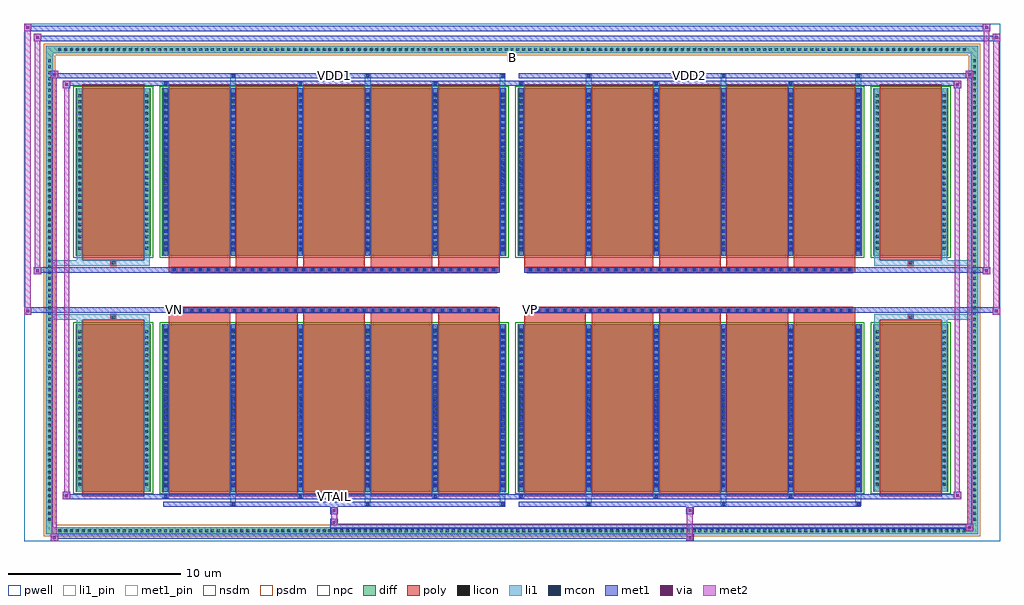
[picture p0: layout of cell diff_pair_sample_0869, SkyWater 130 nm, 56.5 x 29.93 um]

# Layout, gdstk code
import gdstk
lib = gdstk.Library(unit=1e-6, precision=5e-09)
def R(c, l, rs):  # rectangles x0, y0, x1, y1
    for r in rs: c.add(gdstk.rectangle(r[:2], r[2:], *l))
def A(c, l, x, y, w, h, nx, ny, dx, dy):  # array of equal rectangles
    R(c, l, [(x+i*dx, y+j*dy, x+i*dx+w, y+j*dy+h) for i in range(nx) for j in range(ny)])
def P(c, l, *ps):  # polygons
    for p in ps: c.add(gdstk.Polygon(p, *l))
pwell = (64, 44)
diff = (65, 20)
poly = (66, 20)
licon = (66, 44)
li1_pin = (67, 16)
li1 = (67, 20)
mcon = (67, 44)
met1_pin = (68, 16)
met1 = (68, 20)
via = (68, 44)
met2 = (69, 20)
nsdm = (93, 44)
psdm = (94, 20)
npc = (95, 20)

diff_pair_sample_0869 = lib.new_cell('diff_pair_sample_0869')
R(diff_pair_sample_0869, pwell, [(-28.25,-14.53,28.25,15.4), (-25.57,-12.72,-0.01,-0.8), (0.01,-12.72,25.57,-0.8), (-25.57,0.8,-0.01,12.72), (0.01,0.8,25.57,12.72)])
A(diff_pair_sample_0869, diff, -26.385, -14.13, 0.41, 0.41, 155, 2, 0.34, 27.85)
A(diff_pair_sample_0869, diff, -26.98, -13.465, 0.41, 0.41, 1, 79, 0, 0.34)
A(diff_pair_sample_0869, diff, 26.57, -13.465, 0.41, 0.41, 1, 79, 0, 0.34)
R(diff_pair_sample_0869, diff, [(-26.385,-14.13,26.385,-13.72), (-26.98,-13.465,-26.57,13.465), (26.57,-13.465,26.98,13.465), (-25.26,-11.675,-20.91,-1.985), (-20.27,-11.675,-0.32,-1.985), (0.32,-11.675,20.27,-1.985), (20.91,-11.675,25.26,-1.985), (-25.26,1.985,-20.91,11.675), (-20.27,1.985,-0.32,11.675), (0.32,1.985,20.27,11.675), (20.91,1.985,25.26,11.675), (-26.385,13.72,26.385,14.13)])
P(diff_pair_sample_0869, diff, [(26.98,14.13),(-26.98,14.13),(-26.98,-13.72),(-26.57,-13.72),(-26.57,13.72),(26.57,13.72),(26.57,-13.72),(-26.57,-13.72),(-26.98,-13.72),(-26.98,-14.13),(26.98,-14.13)])
A(diff_pair_sample_0869, poly, -19.88, -11.925, 3.57, 10.19, 5, 2, 3.9, 13.66)
A(diff_pair_sample_0869, poly, 0.71, -11.925, 3.57, 10.19, 5, 2, 3.9, 13.66)
A(diff_pair_sample_0869, poly, -19.88, -1.735, 3.57, 0.405, 5, 2, 3.9, 3.065)
A(diff_pair_sample_0869, poly, 0.71, -1.735, 3.57, 0.405, 5, 2, 3.9, 3.065)
A(diff_pair_sample_0869, poly, -19.71, -1.33, 0.33, 0.33, 38, 2, 0.5, 2.33)
A(diff_pair_sample_0869, poly, 0.88, -1.33, 0.33, 0.33, 38, 2, 0.5, 2.33)
R(diff_pair_sample_0869, poly, [(-24.87,-11.925,-21.3,-1.735), (21.3,-11.925,24.87,-1.735), (-23.25,-1.735,-22.92,-1.405), (-23.25,-1.735,-22.92,-1.405), (22.92,-1.735,23.25,-1.405), (22.92,-1.735,23.25,-1.405), (-19.88,-1.33,-0.71,-1), (0.71,-1.33,19.88,-1), (-19.88,1,-0.71,1.33), (0.71,1,19.88,1.33), (-23.25,1.405,-22.92,1.735), (-23.25,1.405,-22.92,1.735), (22.92,1.405,23.25,1.735), (22.92,1.405,23.25,1.735), (-24.87,1.735,-21.3,11.925), (21.3,1.735,24.87,11.925)])
A(diff_pair_sample_0869, licon, -26.265, -14.01, 0.17, 0.17, 155, 2, 0.34, 27.85)
A(diff_pair_sample_0869, licon, -26.86, -13.345, 0.17, 0.17, 1, 79, 0, 0.34)
A(diff_pair_sample_0869, licon, 26.69, -13.345, 0.17, 0.17, 1, 79, 0, 0.34)
A(diff_pair_sample_0869, licon, -25.12, -11.335, 0.17, 0.17, 1, 27, 0, 0.34)
A(diff_pair_sample_0869, licon, -21.22, -11.335, 0.17, 0.17, 1, 27, 0, 0.34)
A(diff_pair_sample_0869, licon, -20.13, -11.335, 0.17, 0.17, 6, 27, 3.9, 0.34)
A(diff_pair_sample_0869, licon, 0.46, -11.335, 0.17, 0.17, 6, 27, 3.9, 0.34)
A(diff_pair_sample_0869, licon, 21.05, -11.335, 0.17, 0.17, 1, 27, 0, 0.34)
A(diff_pair_sample_0869, licon, 24.95, -11.335, 0.17, 0.17, 1, 27, 0, 0.34)
A(diff_pair_sample_0869, licon, -19.63, -1.25, 0.17, 0.17, 38, 2, 0.5, 2.33)
A(diff_pair_sample_0869, licon, 0.96, -1.25, 0.17, 0.17, 38, 2, 0.5, 2.33)
A(diff_pair_sample_0869, licon, -25.12, 2.325, 0.17, 0.17, 1, 27, 0, 0.34)
A(diff_pair_sample_0869, licon, -21.22, 2.325, 0.17, 0.17, 1, 27, 0, 0.34)
A(diff_pair_sample_0869, licon, -20.13, 2.325, 0.17, 0.17, 6, 27, 3.9, 0.34)
A(diff_pair_sample_0869, licon, 0.46, 2.325, 0.17, 0.17, 6, 27, 3.9, 0.34)
A(diff_pair_sample_0869, licon, 21.05, 2.325, 0.17, 0.17, 1, 27, 0, 0.34)
A(diff_pair_sample_0869, licon, 24.95, 2.325, 0.17, 0.17, 1, 27, 0, 0.34)
R(diff_pair_sample_0869, licon, [(-23.17,-1.655,-23,-1.485), (23,-1.655,23.17,-1.485), (-23.17,1.485,-23,1.655), (23,1.485,23.17,1.655)])
R(diff_pair_sample_0869, li1_pin, [(-0.25,13.22,0.25,13.72)])
A(diff_pair_sample_0869, li1, -26.345, -14.09, 0.33, 0.33, 155, 2, 0.34, 27.85)
A(diff_pair_sample_0869, li1, -26.94, -13.425, 0.33, 0.33, 1, 79, 0, 0.34)
A(diff_pair_sample_0869, li1, 26.61, -13.425, 0.33, 0.33, 1, 79, 0, 0.34)
A(diff_pair_sample_0869, li1, -16.31, -12.48, 0.33, 0.805, 3, 2, 7.8, 24.155)
A(diff_pair_sample_0869, li1, -16.23, -12.48, 0.17, 0.17, 3, 2, 7.8, 24.79)
A(diff_pair_sample_0869, li1, 4.28, -12.48, 0.33, 0.805, 3, 2, 7.8, 24.155)
A(diff_pair_sample_0869, li1, 4.36, -12.48, 0.17, 0.17, 3, 2, 7.8, 24.79)
A(diff_pair_sample_0869, li1, -20.21, -12.05, 0.33, 0.375, 3, 2, 7.8, 23.725)
A(diff_pair_sample_0869, li1, -20.13, -12.05, 0.17, 0.17, 3, 2, 7.8, 23.93)
A(diff_pair_sample_0869, li1, 0.38, -12.05, 0.33, 0.375, 3, 2, 7.8, 23.725)
A(diff_pair_sample_0869, li1, 0.46, -12.05, 0.17, 0.17, 3, 2, 7.8, 23.93)
A(diff_pair_sample_0869, li1, -20.21, -11.675, 0.33, 9.69, 6, 2, 3.9, 13.66)
A(diff_pair_sample_0869, li1, 0.38, -11.675, 0.33, 9.69, 6, 2, 3.9, 13.66)
A(diff_pair_sample_0869, li1, -25.2, -11.415, 0.33, 0.33, 1, 27, 0, 0.34)
A(diff_pair_sample_0869, li1, -21.3, -11.415, 0.33, 0.33, 1, 27, 0, 0.34)
A(diff_pair_sample_0869, li1, -20.21, -11.415, 0.33, 0.33, 6, 27, 3.9, 0.34)
A(diff_pair_sample_0869, li1, -20.13, -11.415, 0.17, 0.17, 6, 26, 3.9, 0.36)
A(diff_pair_sample_0869, li1, -20.13, -11.415, 0.17, 9.17, 6, 2, 3.9, 13.66)
A(diff_pair_sample_0869, li1, 0.38, -11.415, 0.33, 0.33, 6, 27, 3.9, 0.34)
A(diff_pair_sample_0869, li1, 0.46, -11.415, 0.17, 0.17, 6, 26, 3.9, 0.36)
A(diff_pair_sample_0869, li1, 0.46, -11.415, 0.17, 9.17, 6, 2, 3.9, 13.66)
A(diff_pair_sample_0869, li1, 20.97, -11.415, 0.33, 0.33, 1, 27, 0, 0.34)
A(diff_pair_sample_0869, li1, 24.87, -11.415, 0.33, 0.33, 1, 27, 0, 0.34)
A(diff_pair_sample_0869, li1, -19.71, -1.33, 0.33, 0.33, 38, 2, 0.5, 2.33)
A(diff_pair_sample_0869, li1, 0.88, -1.33, 0.33, 0.33, 38, 2, 0.5, 2.33)
A(diff_pair_sample_0869, li1, -25.2, 2.245, 0.33, 0.33, 1, 27, 0, 0.34)
A(diff_pair_sample_0869, li1, -21.3, 2.245, 0.33, 0.33, 1, 27, 0, 0.34)
A(diff_pair_sample_0869, li1, -20.21, 2.245, 0.33, 0.33, 6, 27, 3.9, 0.34)
A(diff_pair_sample_0869, li1, -20.13, 2.245, 0.17, 0.17, 6, 26, 3.9, 0.36)
A(diff_pair_sample_0869, li1, 0.38, 2.245, 0.33, 0.33, 6, 27, 3.9, 0.34)
A(diff_pair_sample_0869, li1, 0.46, 2.245, 0.17, 0.17, 6, 26, 3.9, 0.36)
A(diff_pair_sample_0869, li1, 20.97, 2.245, 0.33, 0.33, 1, 27, 0, 0.34)
A(diff_pair_sample_0869, li1, 24.87, 2.245, 0.33, 0.33, 1, 27, 0, 0.34)
R(diff_pair_sample_0869, li1, [(-26.98,-14.13,-26.57,-13.72), (-26.98,-14.13,-26.57,-13.72), (-26.57,-14.13,26.57,-13.72), (26.57,-14.13,26.98,-13.72), (26.57,-14.13,26.98,-13.72), (-26.98,-13.72,-26.57,13.72), (26.57,-13.72,26.98,13.72), (-25.2,-11.675,-24.87,-1.985), (-21.3,-11.675,-20.97,-1.985), (20.97,-11.675,21.3,-1.985), (24.87,-11.675,25.2,-1.985), (-25.2,-1.985,-24.87,-1.405), (-21.3,-1.985,-20.97,-1.405), (20.97,-1.985,21.3,-1.405), (24.87,-1.985,25.2,-1.405), (-26.98,-1.735,-23.25,-1.405), (-25.2,-1.735,-23.25,-1.405), (-23.25,-1.735,-22.92,-1.405), (-22.92,-1.735,-20.97,-1.405), (20.97,-1.735,22.92,-1.405), (22.92,-1.735,23.25,-1.405), (22.92,-1.735,26.98,-1.405), (23.25,-1.735,25.2,-1.405), (-26.98,1.405,-23.25,1.735), (-25.2,1.405,-23.25,1.735), (-25.2,1.405,-24.87,1.985), (-23.25,1.405,-22.92,1.735), (-22.92,1.405,-20.97,1.735), (-21.3,1.405,-20.97,1.985), (20.97,1.405,22.92,1.735), (20.97,1.405,21.3,1.985), (22.92,1.405,23.25,1.735), (22.92,1.405,26.98,1.735), (23.25,1.405,25.2,1.735), (24.87,1.405,25.2,1.985), (-25.2,1.985,-24.87,11.675), (-21.3,1.985,-20.97,11.675), (20.97,1.985,21.3,11.675), (24.87,1.985,25.2,11.675), (-26.98,13.72,-26.57,14.13), (-26.98,13.72,-26.57,14.13), (-26.57,13.72,26.57,14.13), (26.57,13.72,26.98,14.13), (26.57,13.72,26.98,14.13)])
A(diff_pair_sample_0869, mcon, -16.23, -12.48, 0.17, 0.17, 3, 2, 7.8, 24.79)
A(diff_pair_sample_0869, mcon, 4.36, -12.48, 0.17, 0.17, 3, 2, 7.8, 24.79)
A(diff_pair_sample_0869, mcon, -20.13, -12.05, 0.17, 0.17, 3, 2, 7.8, 23.93)
A(diff_pair_sample_0869, mcon, 0.46, -12.05, 0.17, 0.17, 3, 2, 7.8, 23.93)
A(diff_pair_sample_0869, mcon, -20.13, -11.415, 0.17, 0.17, 6, 26, 3.9, 0.36)
A(diff_pair_sample_0869, mcon, 0.46, -11.415, 0.17, 0.17, 6, 26, 3.9, 0.36)
A(diff_pair_sample_0869, mcon, -19.63, -1.25, 0.17, 0.17, 38, 2, 0.5, 2.33)
A(diff_pair_sample_0869, mcon, 0.96, -1.25, 0.17, 0.17, 38, 2, 0.5, 2.33)
A(diff_pair_sample_0869, mcon, -20.13, 2.245, 0.17, 0.17, 6, 26, 3.9, 0.36)
A(diff_pair_sample_0869, mcon, 0.46, 2.245, 0.17, 0.17, 6, 26, 3.9, 0.36)
R(diff_pair_sample_0869, met1_pin, [(-10.43,-12.09,-10.16,-11.82), (-19.68,-1.29,-19.41,-1.02), (0.91,-1.29,1.18,-1.02), (-10.43,12.27,-10.16,12.54), (10.16,12.27,10.43,12.54)])
A(diff_pair_sample_0869, met1, -16.29, -12.54, 0.29, 0.29, 3, 2, 7.8, 24.79)
A(diff_pair_sample_0869, met1, 4.3, -12.54, 0.29, 0.29, 3, 2, 7.8, 24.79)
A(diff_pair_sample_0869, met1, -20.19, -12.11, 0.29, 0.29, 3, 2, 7.8, 23.93)
A(diff_pair_sample_0869, met1, 0.4, -12.11, 0.29, 0.29, 3, 2, 7.8, 23.93)
A(diff_pair_sample_0869, met1, -20.19, -11.675, 0.29, 9.69, 6, 2, 3.9, 13.66)
A(diff_pair_sample_0869, met1, 0.4, -11.675, 0.29, 9.69, 6, 2, 3.9, 13.66)
A(diff_pair_sample_0869, met1, -20.19, -11.475, 0.29, 0.29, 6, 26, 3.9, 0.36)
A(diff_pair_sample_0869, met1, 0.4, -11.475, 0.29, 0.29, 6, 26, 3.9, 0.36)
A(diff_pair_sample_0869, met1, -19.69, -1.31, 0.29, 0.29, 38, 2, 0.5, 2.33)
A(diff_pair_sample_0869, met1, 0.9, -1.31, 0.29, 0.29, 38, 2, 0.5, 2.33)
A(diff_pair_sample_0869, met1, -20.19, 2.185, 0.29, 0.29, 6, 26, 3.9, 0.36)
A(diff_pair_sample_0869, met1, 0.4, 2.185, 0.29, 0.29, 6, 26, 3.9, 0.36)
R(diff_pair_sample_0869, met1, [(-26.71,-14.53,-26.28,-14.1), (10.08,-14.53,10.51,-14.1), (-26.71,-14.39,10.51,-14.1), (26.28,-13.96,26.71,-13.53), (-10.51,-13.82,26.71,-13.53), (-10.51,-13.68,-10.08,-13.25), (-10.51,-12.97,-10.08,-12.54), (10.08,-12.97,10.51,-12.54), (-20.19,-12.54,-0.4,-12.25), (0.4,-12.54,20.19,-12.25), (-26,-12.11,-25.57,-11.68), (-26,-12.11,-20.19,-11.82), (-20.19,-12.11,-0.4,-11.82), (-0.4,-12.11,0.4,-11.82), (0.4,-12.11,20.19,-11.82), (20.19,-12.11,26,-11.82), (25.57,-12.11,26,-11.68), (-28.25,-1.43,-27.82,-1), (27.82,-1.43,28.25,-1), (-28.25,-1.33,-0.71,-1), (-19.88,-1.33,-0.71,-1), (0.71,-1.33,19.88,-1), (0.71,-1.33,28.25,-1), (-27.68,0.9,-27.25,1.33), (27.25,0.9,27.68,1.33), (-27.68,1,-19.88,1.33), (-19.88,1,-0.71,1.33), (0.71,1,19.88,1.33), (19.88,1,27.68,1.33), (-26,11.68,-25.57,12.11), (25.57,11.68,26,12.11), (-26,11.82,-20.19,12.11), (-20.19,11.82,-0.4,12.11), (-0.4,11.82,0.4,12.11), (0.4,11.82,20.19,12.11), (20.19,11.82,26,12.11), (-26.71,12.25,-26.28,12.68), (-26.71,12.25,-20.19,12.54), (-20.19,12.25,-0.4,12.54), (0.4,12.25,20.19,12.54), (20.19,12.25,26.71,12.54), (26.28,12.25,26.71,12.68), (-27.68,14.4,-27.25,14.83), (-27.68,14.4,-25.57,14.73), (-25.57,14.4,25.57,14.73), (25.57,14.4,28.25,14.73), (27.82,14.4,28.25,14.83), (-28.25,14.97,-27.82,15.4), (-28.25,14.97,-25.57,15.3), (-25.57,14.97,25.57,15.3), (25.57,14.97,27.68,15.3), (27.25,14.97,27.68,15.4)])
R(diff_pair_sample_0869, via, [(-26.57,-14.39,-26.42,-14.24), (10.22,-14.39,10.37,-14.24), (26.42,-13.82,26.57,-13.67), (-10.37,-13.54,-10.22,-13.39), (-10.37,-12.83,-10.22,-12.68), (10.22,-12.83,10.37,-12.68), (-25.86,-11.97,-25.71,-11.82), (25.71,-11.97,25.86,-11.82), (-28.11,-1.29,-27.96,-1.14), (27.96,-1.29,28.11,-1.14), (-27.54,1.04,-27.39,1.19), (27.39,1.04,27.54,1.19), (-25.86,11.82,-25.71,11.97), (25.71,11.82,25.86,11.97), (-26.57,12.39,-26.42,12.54), (26.42,12.39,26.57,12.54), (-27.54,14.54,-27.39,14.69), (27.96,14.54,28.11,14.69), (-28.11,15.11,-27.96,15.26), (27.39,15.11,27.54,15.26)])
R(diff_pair_sample_0869, met2, [(-26.71,-14.53,-26.28,-14.1), (-26.64,-14.53,-26.35,12.68), (-26.35,-14.53,-26.28,-14.1), (-26.66,-14.48,-26.33,-14.15), (10.13,-14.48,10.46,-14.15), (10.13,-14.15,10.46,-12.92), (26.28,-13.96,26.71,-13.53), (26.35,-13.96,26.64,12.68), (26.64,-13.96,26.71,-13.53), (26.33,-13.91,26.66,-13.58), (-10.46,-13.63,-10.13,-13.3), (-10.46,-13.3,-10.13,-12.92), (-10.46,-12.92,-10.13,-12.59), (10.13,-12.92,10.46,-12.59), (-26,-12.11,-25.57,-11.68), (-25.93,-12.11,-25.64,12.11), (-25.64,-12.11,-25.57,-11.68), (25.57,-12.11,26,-11.68), (25.64,-12.11,25.93,12.11), (25.93,-12.11,26,-11.68), (-25.95,-12.06,-25.62,-11.73), (25.62,-12.06,25.95,-11.73), (-28.25,-1.43,-27.82,-1), (-28.2,-1.43,-27.87,15.4), (-27.87,-1.43,-27.82,-1), (27.82,-1.43,28.25,-1), (27.87,-1.43,28.2,14.83), (28.2,-1.43,28.25,-1), (-28.2,-1.38,-27.87,-1.05), (27.87,-1.38,28.2,-1.05), (-27.68,0.9,-27.25,1.33), (-27.63,0.9,-27.3,14.83), (-27.3,0.9,-27.25,1.33), (27.25,0.9,27.68,1.33), (27.3,0.9,27.63,15.4), (27.63,0.9,27.68,1.33), (-27.63,0.95,-27.3,1.28), (27.3,0.95,27.63,1.28), (-26,11.68,-25.57,12.11), (-25.64,11.68,-25.57,12.11), (25.57,11.68,26,12.11), (25.93,11.68,26,12.11), (-25.95,11.73,-25.62,12.06), (25.62,11.73,25.95,12.06), (-26.71,12.25,-26.28,12.68), (-26.35,12.25,-26.28,12.68), (26.28,12.25,26.71,12.68), (26.64,12.25,26.71,12.68), (-26.66,12.3,-26.33,12.63), (26.33,12.3,26.66,12.63), (-27.68,14.4,-27.25,14.83), (-27.3,14.4,-27.25,14.83), (27.82,14.4,28.25,14.83), (28.2,14.4,28.25,14.83), (-27.63,14.45,-27.3,14.78), (27.87,14.45,28.2,14.78), (-28.25,14.97,-27.82,15.4), (-27.87,14.97,-27.82,15.4), (27.25,14.97,27.68,15.4), (27.63,14.97,27.68,15.4), (-28.2,15.02,-27.87,15.35), (27.3,15.02,27.63,15.35)])
R(diff_pair_sample_0869, nsdm, [(-25.39,-11.805,-20.78,-1.855), (-20.4,-11.805,-0.19,-1.855), (0.19,-11.805,20.4,-1.855), (20.78,-11.805,25.39,-1.855), (-25.39,1.855,-20.78,11.805), (-20.4,1.855,-0.19,11.805), (0.19,1.855,20.4,11.805), (20.78,1.855,25.39,11.805)])
P(diff_pair_sample_0869, psdm, [(27.11,14.26),(-27.11,14.26),(-27.11,-13.59),(-26.44,-13.59),(-26.44,13.59),(26.44,13.59),(26.44,-13.59),(-26.44,-13.59),(-27.11,-13.59),(-27.11,-14.26),(27.11,-14.26)])
A(diff_pair_sample_0869, npc, -19.73, -1.35, 0.37, 0.37, 38, 2, 0.5, 2.33)
A(diff_pair_sample_0869, npc, 0.86, -1.35, 0.37, 0.37, 38, 2, 0.5, 2.33)
R(diff_pair_sample_0869, npc, [(-23.27,-1.755,-22.9,-1.385), (22.9,-1.755,23.27,-1.385), (-19.73,-1.35,-18.86,-0.98), (-19.73,-1.35,-18.86,-0.98), (-19.23,-1.35,-18.36,-0.98), (-19.23,-1.35,-18.36,-0.98), (-18.73,-1.35,-17.86,-0.98), (-18.73,-1.35,-17.86,-0.98), (-18.23,-1.35,-17.36,-0.98), (-18.23,-1.35,-17.36,-0.98), (-17.73,-1.35,-16.86,-0.98), (-17.73,-1.35,-16.86,-0.98), (-17.23,-1.35,-16.36,-0.98), (-17.23,-1.35,-16.36,-0.98), (-16.73,-1.35,-15.86,-0.98), (-16.73,-1.35,-15.86,-0.98), (-16.23,-1.35,-15.36,-0.98), (-16.23,-1.35,-15.36,-0.98), (-15.73,-1.35,-14.86,-0.98), (-15.73,-1.35,-14.86,-0.98), (-15.23,-1.35,-14.36,-0.98), (-15.23,-1.35,-14.36,-0.98), (-14.73,-1.35,-13.86,-0.98), (-14.73,-1.35,-13.86,-0.98), (-14.23,-1.35,-13.36,-0.98), (-14.23,-1.35,-13.36,-0.98), (-13.73,-1.35,-12.86,-0.98), (-13.73,-1.35,-12.86,-0.98), (-13.23,-1.35,-12.36,-0.98), (-13.23,-1.35,-12.36,-0.98), (-12.73,-1.35,-11.86,-0.98), (-12.73,-1.35,-11.86,-0.98), (-12.23,-1.35,-11.36,-0.98), (-12.23,-1.35,-11.36,-0.98), (-11.73,-1.35,-10.86,-0.98), (-11.73,-1.35,-10.86,-0.98), (-11.23,-1.35,-10.36,-0.98), (-11.23,-1.35,-10.36,-0.98), (-10.73,-1.35,-9.86,-0.98), (-10.73,-1.35,-9.86,-0.98), (-10.23,-1.35,-9.36,-0.98), (-10.23,-1.35,-9.36,-0.98), (-9.73,-1.35,-8.86,-0.98), (-9.73,-1.35,-8.86,-0.98), (-9.23,-1.35,-8.36,-0.98), (-9.23,-1.35,-8.36,-0.98), (-8.73,-1.35,-7.86,-0.98), (-8.73,-1.35,-7.86,-0.98), (-8.23,-1.35,-7.36,-0.98), (-8.23,-1.35,-7.36,-0.98), (-7.73,-1.35,-6.86,-0.98), (-7.73,-1.35,-6.86,-0.98), (-7.23,-1.35,-6.36,-0.98), (-7.23,-1.35,-6.36,-0.98), (-6.73,-1.35,-5.86,-0.98), (-6.73,-1.35,-5.86,-0.98), (-6.23,-1.35,-5.36,-0.98), (-6.23,-1.35,-5.36,-0.98), (-5.73,-1.35,-4.86,-0.98), (-5.73,-1.35,-4.86,-0.98), (-5.23,-1.35,-4.36,-0.98), (-5.23,-1.35,-4.36,-0.98), (-4.73,-1.35,-3.86,-0.98), (-4.73,-1.35,-3.86,-0.98), (-4.23,-1.35,-3.36,-0.98), (-4.23,-1.35,-3.36,-0.98), (-3.73,-1.35,-2.86,-0.98), (-3.73,-1.35,-2.86,-0.98), (-3.23,-1.35,-2.36,-0.98), (-3.23,-1.35,-2.36,-0.98), (-2.73,-1.35,-1.86,-0.98), (-2.73,-1.35,-1.86,-0.98), (-2.23,-1.35,-1.36,-0.98), (-2.23,-1.35,-1.36,-0.98), (-1.73,-1.35,-0.86,-0.98), (-1.73,-1.35,-0.86,-0.98), (0.86,-1.35,1.73,-0.98), (0.86,-1.35,1.73,-0.98), (1.36,-1.35,2.23,-0.98), (1.36,-1.35,2.23,-0.98), (1.86,-1.35,2.73,-0.98), (1.86,-1.35,2.73,-0.98), (2.36,-1.35,3.23,-0.98), (2.36,-1.35,3.23,-0.98), (2.86,-1.35,3.73,-0.98), (2.86,-1.35,3.73,-0.98), (3.36,-1.35,4.23,-0.98), (3.36,-1.35,4.23,-0.98), (3.86,-1.35,4.73,-0.98), (3.86,-1.35,4.73,-0.98), (4.36,-1.35,5.23,-0.98), (4.36,-1.35,5.23,-0.98), (4.86,-1.35,5.73,-0.98), (4.86,-1.35,5.73,-0.98), (5.36,-1.35,6.23,-0.98), (5.36,-1.35,6.23,-0.98), (5.86,-1.35,6.73,-0.98), (5.86,-1.35,6.73,-0.98), (6.36,-1.35,7.23,-0.98), (6.36,-1.35,7.23,-0.98), (6.86,-1.35,7.73,-0.98), (6.86,-1.35,7.73,-0.98), (7.36,-1.35,8.23,-0.98), (7.36,-1.35,8.23,-0.98), (7.86,-1.35,8.73,-0.98), (7.86,-1.35,8.73,-0.98), (8.36,-1.35,9.23,-0.98), (8.36,-1.35,9.23,-0.98), (8.86,-1.35,9.73,-0.98), (8.86,-1.35,9.73,-0.98), (9.36,-1.35,10.23,-0.98), (9.36,-1.35,10.23,-0.98), (9.86,-1.35,10.73,-0.98), (9.86,-1.35,10.73,-0.98), (10.36,-1.35,11.23,-0.98), (10.36,-1.35,11.23,-0.98), (10.86,-1.35,11.73,-0.98), (10.86,-1.35,11.73,-0.98), (11.36,-1.35,12.23,-0.98), (11.36,-1.35,12.23,-0.98), (11.86,-1.35,12.73,-0.98), (11.86,-1.35,12.73,-0.98), (12.36,-1.35,13.23,-0.98), (12.36,-1.35,13.23,-0.98), (12.86,-1.35,13.73,-0.98), (12.86,-1.35,13.73,-0.98), (13.36,-1.35,14.23,-0.98), (13.36,-1.35,14.23,-0.98), (13.86,-1.35,14.73,-0.98), (13.86,-1.35,14.73,-0.98), (14.36,-1.35,15.23,-0.98), (14.36,-1.35,15.23,-0.98), (14.86,-1.35,15.73,-0.98), (14.86,-1.35,15.73,-0.98), (15.36,-1.35,16.23,-0.98), (15.36,-1.35,16.23,-0.98), (15.86,-1.35,16.73,-0.98), (15.86,-1.35,16.73,-0.98), (16.36,-1.35,17.23,-0.98), (16.36,-1.35,17.23,-0.98), (16.86,-1.35,17.73,-0.98), (16.86,-1.35,17.73,-0.98), (17.36,-1.35,18.23,-0.98), (17.36,-1.35,18.23,-0.98), (17.86,-1.35,18.73,-0.98), (17.86,-1.35,18.73,-0.98), (18.36,-1.35,19.23,-0.98), (18.36,-1.35,19.23,-0.98), (18.86,-1.35,19.73,-0.98), (18.86,-1.35,19.73,-0.98), (-19.73,0.98,-18.86,1.35), (-19.73,0.98,-18.86,1.35), (-19.23,0.98,-18.36,1.35), (-19.23,0.98,-18.36,1.35), (-18.73,0.98,-17.86,1.35), (-18.73,0.98,-17.86,1.35), (-18.23,0.98,-17.36,1.35), (-18.23,0.98,-17.36,1.35), (-17.73,0.98,-16.86,1.35), (-17.73,0.98,-16.86,1.35), (-17.23,0.98,-16.36,1.35), (-17.23,0.98,-16.36,1.35), (-16.73,0.98,-15.86,1.35), (-16.73,0.98,-15.86,1.35), (-16.23,0.98,-15.36,1.35), (-16.23,0.98,-15.36,1.35), (-15.73,0.98,-14.86,1.35), (-15.73,0.98,-14.86,1.35), (-15.23,0.98,-14.36,1.35), (-15.23,0.98,-14.36,1.35), (-14.73,0.98,-13.86,1.35), (-14.73,0.98,-13.86,1.35), (-14.23,0.98,-13.36,1.35), (-14.23,0.98,-13.36,1.35), (-13.73,0.98,-12.86,1.35), (-13.73,0.98,-12.86,1.35), (-13.23,0.98,-12.36,1.35), (-13.23,0.98,-12.36,1.35), (-12.73,0.98,-11.86,1.35), (-12.73,0.98,-11.86,1.35), (-12.23,0.98,-11.36,1.35), (-12.23,0.98,-11.36,1.35), (-11.73,0.98,-10.86,1.35), (-11.73,0.98,-10.86,1.35), (-11.23,0.98,-10.36,1.35), (-11.23,0.98,-10.36,1.35), (-10.73,0.98,-9.86,1.35), (-10.73,0.98,-9.86,1.35), (-10.23,0.98,-9.36,1.35), (-10.23,0.98,-9.36,1.35), (-9.73,0.98,-8.86,1.35), (-9.73,0.98,-8.86,1.35), (-9.23,0.98,-8.36,1.35), (-9.23,0.98,-8.36,1.35), (-8.73,0.98,-7.86,1.35), (-8.73,0.98,-7.86,1.35), (-8.23,0.98,-7.36,1.35), (-8.23,0.98,-7.36,1.35), (-7.73,0.98,-6.86,1.35), (-7.73,0.98,-6.86,1.35), (-7.23,0.98,-6.36,1.35), (-7.23,0.98,-6.36,1.35), (-6.73,0.98,-5.86,1.35), (-6.73,0.98,-5.86,1.35), (-6.23,0.98,-5.36,1.35), (-6.23,0.98,-5.36,1.35), (-5.73,0.98,-4.86,1.35), (-5.73,0.98,-4.86,1.35), (-5.23,0.98,-4.36,1.35), (-5.23,0.98,-4.36,1.35), (-4.73,0.98,-3.86,1.35), (-4.73,0.98,-3.86,1.35), (-4.23,0.98,-3.36,1.35), (-4.23,0.98,-3.36,1.35), (-3.73,0.98,-2.86,1.35), (-3.73,0.98,-2.86,1.35), (-3.23,0.98,-2.36,1.35), (-3.23,0.98,-2.36,1.35), (-2.73,0.98,-1.86,1.35), (-2.73,0.98,-1.86,1.35), (-2.23,0.98,-1.36,1.35), (-2.23,0.98,-1.36,1.35), (-1.73,0.98,-0.86,1.35), (-1.73,0.98,-0.86,1.35), (0.86,0.98,1.73,1.35), (0.86,0.98,1.73,1.35), (1.36,0.98,2.23,1.35), (1.36,0.98,2.23,1.35), (1.86,0.98,2.73,1.35), (1.86,0.98,2.73,1.35), (2.36,0.98,3.23,1.35), (2.36,0.98,3.23,1.35), (2.86,0.98,3.73,1.35), (2.86,0.98,3.73,1.35), (3.36,0.98,4.23,1.35), (3.36,0.98,4.23,1.35), (3.86,0.98,4.73,1.35), (3.86,0.98,4.73,1.35), (4.36,0.98,5.23,1.35), (4.36,0.98,5.23,1.35), (4.86,0.98,5.73,1.35), (4.86,0.98,5.73,1.35), (5.36,0.98,6.23,1.35), (5.36,0.98,6.23,1.35), (5.86,0.98,6.73,1.35), (5.86,0.98,6.73,1.35), (6.36,0.98,7.23,1.35), (6.36,0.98,7.23,1.35), (6.86,0.98,7.73,1.35), (6.86,0.98,7.73,1.35), (7.36,0.98,8.23,1.35), (7.36,0.98,8.23,1.35), (7.86,0.98,8.73,1.35), (7.86,0.98,8.73,1.35), (8.36,0.98,9.23,1.35), (8.36,0.98,9.23,1.35), (8.86,0.98,9.73,1.35), (8.86,0.98,9.73,1.35), (9.36,0.98,10.23,1.35), (9.36,0.98,10.23,1.35), (9.86,0.98,10.73,1.35), (9.86,0.98,10.73,1.35), (10.36,0.98,11.23,1.35), (10.36,0.98,11.23,1.35), (10.86,0.98,11.73,1.35), (10.86,0.98,11.73,1.35), (11.36,0.98,12.23,1.35), (11.36,0.98,12.23,1.35), (11.86,0.98,12.73,1.35), (11.86,0.98,12.73,1.35), (12.36,0.98,13.23,1.35), (12.36,0.98,13.23,1.35), (12.86,0.98,13.73,1.35), (12.86,0.98,13.73,1.35), (13.36,0.98,14.23,1.35), (13.36,0.98,14.23,1.35), (13.86,0.98,14.73,1.35), (13.86,0.98,14.73,1.35), (14.36,0.98,15.23,1.35), (14.36,0.98,15.23,1.35), (14.86,0.98,15.73,1.35), (14.86,0.98,15.73,1.35), (15.36,0.98,16.23,1.35), (15.36,0.98,16.23,1.35), (15.86,0.98,16.73,1.35), (15.86,0.98,16.73,1.35), (16.36,0.98,17.23,1.35), (16.36,0.98,17.23,1.35), (16.86,0.98,17.73,1.35), (16.86,0.98,17.73,1.35), (17.36,0.98,18.23,1.35), (17.36,0.98,18.23,1.35), (17.86,0.98,18.73,1.35), (17.86,0.98,18.73,1.35), (18.36,0.98,19.23,1.35), (18.36,0.98,19.23,1.35), (18.86,0.98,19.73,1.35), (18.86,0.98,19.73,1.35), (-23.27,1.385,-22.9,1.755), (22.9,1.385,23.27,1.755)])
diff_pair_sample_0869.add(gdstk.Label('VTAIL', (-10.295,-11.955), layer=68, texttype=5))
diff_pair_sample_0869.add(gdstk.Label('VN', (-19.545,-1.155), layer=68, texttype=5))
diff_pair_sample_0869.add(gdstk.Label('VP', (1.045,-1.155), layer=68, texttype=5))
diff_pair_sample_0869.add(gdstk.Label('B', (0,13.47), layer=67, texttype=5))
diff_pair_sample_0869.add(gdstk.Label('VDD2', (10.295,12.405), layer=68, texttype=5))
diff_pair_sample_0869.add(gdstk.Label('VDD1', (-10.295,12.405), layer=68, texttype=5))

lib.write_gds('diff_pair_sample_0869.gds')
